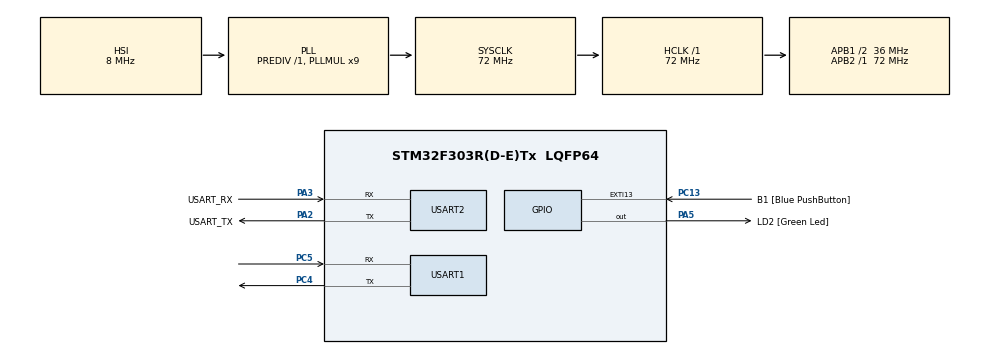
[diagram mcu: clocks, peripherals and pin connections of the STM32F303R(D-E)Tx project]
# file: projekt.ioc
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Dma.Request0=USART1_RX
Dma.Request1=USART1_TX
Dma.USART1_RX.0.Direction=DMA_PERIPH_TO_MEMORY
Dma.USART1_RX.0.Instance=DMA1_Channel5
Dma.USART1_RX.0.MemDataAlignment=DMA_MDATAALIGN_BYTE
Dma.USART1_RX.0.MemInc=DMA_MINC_ENABLE
Dma.USART1_RX.0.Mode=DMA_NORMAL
Dma.USART1_RX.0.PeriphDataAlignment=DMA_PDATAALIGN_BYTE
Dma.USART1_RX.0.PeriphInc=DMA_PINC_DISABLE
Dma.USART1_RX.0.Priority=DMA_PRIORITY_LOW
Dma.USART1_TX.1.Direction=DMA_MEMORY_TO_PERIPH
Dma.USART1_TX.1.Instance=DMA1_Channel4
Dma.USART1_TX.1.MemDataAlignment=DMA_MDATAALIGN_BYTE
Dma.USART1_TX.1.MemInc=DMA_MINC_ENABLE
Dma.USART1_TX.1.Mode=DMA_NORMAL
Dma.USART1_TX.1.PeriphDataAlignment=DMA_PDATAALIGN_BYTE
Dma.USART1_TX.1.PeriphInc=DMA_PINC_DISABLE
Dma.USART1_TX.1.Priority=DMA_PRIORITY_LOW
Mcu.Family=STM32F3
Mcu.Name=STM32F303R(D-E)Tx
Mcu.Package=LQFP64
NVIC.DMA1_Channel4_IRQn=true\:0\:0\:false\:false\:true\:false\:true\:true
NVIC.DMA1_Channel5_IRQn=true\:0\:0\:false\:false\:true\:false\:true\:true
NVIC.PriorityGroup=NVIC_PRIORITYGROUP_0
NVIC.USART1_IRQn=true\:0\:0\:false\:false\:true\:true\:true\:true
NVIC.USART2_IRQn=true\:0\:0\:false\:false\:true\:true\:true\:true
PA13.GPIO_Label=TMS
PA13.Mode=Serial_Wire
PA13.Signal=SYS_JTMS-SWDIO
PA14.GPIO_Label=TCK
PA14.Mode=Serial_Wire
PA14.Signal=SYS_JTCK-SWCLK
PA2.GPIO_Label=USART_TX
PA2.GPIO_Mode=GPIO_MODE_AF_PP
PA2.GPIO_PuPd=GPIO_NOPULL
PA2.GPIO_Speed=GPIO_SPEED_FREQ_LOW
PA2.Mode=Asynchronous
PA2.Signal=USART2_TX
PA3.GPIO_Label=USART_RX
PA3.GPIO_Mode=GPIO_MODE_AF_PP
PA3.GPIO_PuPd=GPIO_NOPULL
PA3.GPIO_Speed=GPIO_SPEED_FREQ_LOW
PA3.Mode=Asynchronous
PA3.Signal=USART2_RX
PA5.GPIO_Label=LD2 [Green Led]
PA5.GPIO_Mode=GPIO_MODE_OUTPUT_PP
PA5.GPIO_PuPd=GPIO_NOPULL
PA5.GPIO_Speed=GPIO_SPEED_FREQ_LOW
PA5.Signal=GPIO_Output
PB3.GPIO_Label=SWO
PB3.Signal=SYS_JTDO-TRACESWO
PC13.GPIO_Label=B1 [Blue PushButton]
PC13.GPIO_ModeDefaultEXTI=GPIO_MODE_IT_FALLING
PC13.Signal=GPXTI13
PC14-OSC32_IN.Mode=LSE-External-Oscillator
PC14-OSC32_IN.Signal=RCC_OSC32_IN
PC15-OSC32_OUT.Mode=LSE-External-Oscillator
PC15-OSC32_OUT.Signal=RCC_OSC32_OUT
PC4.Mode=Asynchronous
PC4.Signal=USART1_TX
PC5.Mode=Asynchronous
PC5.Signal=USART1_RX
PF0-OSC_IN.Mode=HSE-External-Clock-Source
PF0-OSC_IN.Signal=RCC_OSC_IN
PF1-OSC_OUT.Signal=RCC_OSC_OUT
ProjectManager.HeapSize=0x200
ProjectManager.StackSize=0x400
ProjectManager.TargetToolchain=STM32CubeIDE
RCC.AHBFreq_Value=72000000
RCC.APB1CLKDivider=RCC_HCLK_DIV2
RCC.APB1Freq_Value=36000000
RCC.APB1TimFreq_Value=72000000
RCC.APB2Freq_Value=72000000
RCC.APB2TimFreq_Value=72000000
RCC.CortexFreq_Value=72000000
RCC.HCLKFreq_Value=72000000
RCC.HSE_VALUE=8000000
RCC.HSI_VALUE=8000000
RCC.PLLM=8
RCC.PLLMUL=RCC_PLL_MUL9
RCC.PLLN=336
RCC.PLLP=RCC_PLLP_DIV4
RCC.PLLQ=7
RCC.RCC_PLLsource_Clock_Source_FROM_HSE=RCC_HSE_PREDIV_DIV2
RCC.SYSCLKFreq_VALUE=72000000
RCC.SYSCLKSourceVirtual=RCC_SYSCLKSOURCE_PLLCLK
RCC.USBFreq_Value=72000000
USART1.VirtualMode-Asynchronous=VM_ASYNC
USART2.VirtualMode-Asynchronous=VM_ASYNC
board=NUCLEO-F303RE

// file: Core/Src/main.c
/* USER CODE BEGIN Header */
/**
  ******************************************************************************
  * @file           : main.c
  * @brief          : Main program body
  ******************************************************************************
  * @attention
  *
  * Copyright (c) 2024 STMicroelectronics.
  * All rights reserved.
  *
  * This software is licensed under terms that can be found in the LICENSE file
  * in the root directory of this software component.
  * If no LICENSE file comes with this software, it is provided AS-IS.
  *
  ******************************************************************************
  */
/* USER CODE END Header */
#include "main.h"
#include "dma.h"
#include "usart.h"
#include "gpio.h"

/* USER CODE BEGIN Includes */
#include "ramka.h"
#include "bufork.h"
#include "stdarg.h"
#include "stdio.h"
/* USER CODE END Includes */

/* USER CODE BEGIN PV */

uint8_t znak; // odbieranie znaków
uint8_t znakTx; //Wysłanie znaków
uint8_t recBuff1[4096];

/* USER CODE END PV */

void SystemClock_Config(void);

/* USER CODE BEGIN 0 */

/*KOMUNIKACJA*/
void sendf(char* message,...) { //funkcja do wysyłania przez UART łańcuchów znaków
	char tmp[BUF_LEN]; //tymczasowa tablica o wielkości bufora
	bufork_t tmp_txBuf = txBufor2; //zmienna typu strutury tymczasowo wykorzystywana do zapisu bufora kołowego
	va_list arguments;
	va_start(arguments, message);
	vsprintf(tmp, message, arguments); //do bufora tmp przepisuje komunikat uwzględniając argumenty
	va_end(arguments);
	for (uint16_t i =0; i < strlen(tmp); i++) {
		bufork_zapisz(&tmp_txBuf, tmp[i]); //zapisuje w buforze docelowym, tylko jeszcze nie zmienia zmiennej
	}

	__disable_irq();//zabronienie przerwań, by nic nie przeszkodziło w działaniach na buforze
	if ((txBufor2.start==txBufor2.end)&&(__HAL_UART_GET_FLAG(&huart2, UART_FLAG_TXE)==SET)) { //sprawdzenie statusu buforu kołowego - czy UART jest gotowy do wysłania
		txBufor2.start = tmp_txBuf.start; //przypisanie pierwszej komórki do której można przypisywać
		uint8_t ztmp;
		bufork_odczyt(&txBufor2, &ztmp);
		HAL_UART_Transmit_IT(&huart2, &ztmp, 1); //uruchomione jest przerwanie - rozpocznie się dopiero na enable
	} else {
		txBufor2.start = tmp_txBuf.start;  // Uart nie skończył jeszcze poprzedniej wysyłki, więc poinformuj go, że są następne dane
	}

	__enable_irq();
}

/* USER CODE END 0 */

int main(void)
{

  /* MCU Configuration--------------------------------------------------------*/

  /* Reset of all peripherals, Initializes the Flash interface and the Systick. */
  HAL_Init();

  /* Configure the system clock */
  SystemClock_Config();

  /* Initialize all configured peripherals */
  MX_GPIO_Init();
  MX_DMA_Init();
  MX_USART2_UART_Init();
  MX_USART1_UART_Init();
  /* USER CODE BEGIN 2 */
  HAL_UART_Receive_IT(&huart2, &znak, 1);
  HAL_UARTEx_ReceiveToIdle_DMA(&huart1, &recBuff1, 4096);

  // sendf("%s\n", "WITAJ, podrozniku");

  initSIM800();
  uint16_t il_zn_rx2 = 0;
  uint8_t ramka[200];
  ramka[0] = 0;
  sendf("I am ready!\r\n");
  /* USER CODE END 2 */

  /* Infinite loop */
  /* USER CODE BEGIN WHILE */
  while (1)
  {
	//moduł nie przyjmnie nowego rozkazu puki nie obrobi się z tym co otrzymał - jeśli coś w tym czasie zostanie wysłane to nie zostanie odebrane przez moduł
	if(rxBufor2.start!=rxBufor2.end && dma_transfer_complete == 1){
		  if (dopisz_znak_ramki(&ramka)==0) {
			  uint8_t komenda[200];
			  wybierz(&ramka[6],&komenda ,strlen(ramka)-6);
			  // wysłanie komendy do wykonania
			  obsluga_komend(&komenda);
//			  sendf("%s\r\n", ramka);
			  // Po wykonaniu komendy zerowania tablicy ramka
			  ramka[0] = 0;

		  }
	  }

	  if (rxBufor1.start != rxBufor1.end) { //wyświetla to co przyszło z modułu i przekazuje na terminal
		  uint8_t bufor[1024];
		  odczytSIM(&bufor);
//		    sendf("%s\n", &bufor);
		  if (strncmp(&bufor, "+CMGR:", 6) == 0 || strncmp(&bufor, "+CMGL:", 6) == 0) {
			  // Odczytano zadany nr SMS-a
			  char * w = strtok(&bufor, ",");
			  sendf("%s, ", w+7);
			  if (strncmp(&bufor, "+CMGL:", 6) == 0) {
				  w = strtok(NULL, ",");
				  sendf("%s, ", w);
			  }
			  // nr telefonu nadawcy:
			  w = strtok(NULL, ",");
			  sendf("SMS from nr %s\n", w);
			  strtok(NULL, ","); // tu nazwa nadawcy, ale nie ma książki telefonicznej, więc nie ma i nazwy
			  w = strtok(NULL, "\r\n"); // data i czas
			  sendf("received: %s", w);
			  w = strtok(NULL, "");
			  sendf("%s\r\n---------------------\r\n", w);
		  } else if (bufor[0] == '>') {
			  if (strlen(tresc) > 0) {
				  uint8_t tmp[200];
				  sprintf(&tmp, "%s\x1A", tresc);
//				  dma_transfer_complete = 1;
				  sendSIM(&tmp);
				  tresc[0] = 0;
			  }
		  } else if (strncmp(&bufor, "+CMGS:", 6)==0) {
			  if (strstr(&bufor, "OK") != NULL) {
				  sendf("SMS sent successfully");
			  } else {
				  sendf("Error sent SMS");
			  }

		  }
		  dma_transfer_complete = 1;

		  /*else {
		    sendf("%s\n", &recBuff1);
		  }*/
	  }

	  if (txBufor1.start != txBufor1.end && dma_transfer_complete == 1) {
		  // wysłanie do SIM
		  uint8_t pom[200],i=0;
		  while (bufork_odczyt(&txBufor1, &pom[i++])==0);
		  pom[--i] = 0;
		  dma_transfer_complete = 0; //rozpoczęcie transmisji
		  HAL_UART_Transmit_DMA(&huart1,&pom,strlen(pom));
	  }

    /* USER CODE END WHILE */

  }
}

void SystemClock_Config(void)
{
  RCC_OscInitTypeDef RCC_OscInitStruct = {0};
  RCC_ClkInitTypeDef RCC_ClkInitStruct = {0};
  RCC_PeriphCLKInitTypeDef PeriphClkInit = {0};

  /** Initializes the RCC Oscillators according to the specified parameters
  * in the RCC_OscInitTypeDef structure.
  */
  RCC_OscInitStruct.OscillatorType = RCC_OSCILLATORTYPE_HSI;
  RCC_OscInitStruct.HSIState = RCC_HSI_ON;
  RCC_OscInitStruct.HSICalibrationValue = RCC_HSICALIBRATION_DEFAULT;
  RCC_OscInitStruct.PLL.PLLState = RCC_PLL_ON;
  RCC_OscInitStruct.PLL.PLLSource = RCC_PLLSOURCE_HSI;
  RCC_OscInitStruct.PLL.PLLMUL = RCC_PLL_MUL9;
  RCC_OscInitStruct.PLL.PREDIV = RCC_PREDIV_DIV1;
  if (HAL_RCC_OscConfig(&RCC_OscInitStruct) != HAL_OK)
  {
    Error_Handler();
  }

  /** Initializes the CPU, AHB and APB buses clocks
  */
  RCC_ClkInitStruct.ClockType = RCC_CLOCKTYPE_HCLK|RCC_CLOCKTYPE_SYSCLK
                              |RCC_CLOCKTYPE_PCLK1|RCC_CLOCKTYPE_PCLK2;
  RCC_ClkInitStruct.SYSCLKSource = RCC_SYSCLKSOURCE_PLLCLK;
  RCC_ClkInitStruct.AHBCLKDivider = RCC_SYSCLK_DIV1;
  RCC_ClkInitStruct.APB1CLKDivider = RCC_HCLK_DIV2;
  RCC_ClkInitStruct.APB2CLKDivider = RCC_HCLK_DIV1;

  if (HAL_RCC_ClockConfig(&RCC_ClkInitStruct, FLASH_LATENCY_2) != HAL_OK)
  {
    Error_Handler();
  }
  PeriphClkInit.PeriphClockSelection = RCC_PERIPHCLK_USART1|RCC_PERIPHCLK_USART2;
  PeriphClkInit.Usart1ClockSelection = RCC_USART1CLKSOURCE_PCLK2;
  PeriphClkInit.Usart2ClockSelection = RCC_USART2CLKSOURCE_PCLK1;
  if (HAL_RCCEx_PeriphCLKConfig(&PeriphClkInit) != HAL_OK)
  {
    Error_Handler();
  }
}

/* USER CODE BEGIN 4 */
//obsłua przerwań

void HAL_UART_RxCpltCallback(UART_HandleTypeDef*huart){ //odbieranie
	if(huart->Instance== USART2){
		//dodawanie znaku do bufora odbiorczego
		bufork_zapisz(&rxBufor2, znak);
		HAL_UART_Receive_IT(&huart2, &znak, 1);
	}

}
void HAL_UART_TxCpltCallback(UART_HandleTypeDef*huart){ //nadawanie
	if(huart->Instance== USART2){
//		huart2_transfer_complete = 1;
	// nie ma potrzeby sprawdzania gotowości UART do wysłania znaku, bo przerwaanie wywołuje się dopiero po wysłaniu
		if (bufork_odczyt(&txBufor2, &znakTx) == 0) {
				HAL_UART_Transmit_IT(&huart2, &znakTx, 1);
		}
	}
	//if (huart->Instance == USART1) { //czy dotyczy UART1
//	        dma_transfer_complete = 1; //czy zakończone
	 //}
}

void HAL_UARTEx_RxEventCallback(UART_HandleTypeDef *huart, uint16_t Size)
{
    if(huart->Instance == USART1)
    {
     	for (uint8_t i = 0; i < Size; i++){
    		if (bufork_zapisz(&rxBufor1, recBuff1[i]) == -1) {
    			sendf('Buffer overflow');
    			break;
    		}
    		recBuff1[i] = 0;
    	}
     	dma_transfer_complete == 0; //żeby mógł odebrać kilka SMS, bo każdy odczytany SMS powoduje wywołanie tego przerwania
     	// Start to listening again - IMPORTANT!
     	HAL_UARTEx_ReceiveToIdle_DMA(&huart1, recBuff1, 4096);
    }
}

/* USER CODE END 4 */

void Error_Handler(void)
{
  __disable_irq();
  while (1)
  {
  }
}
